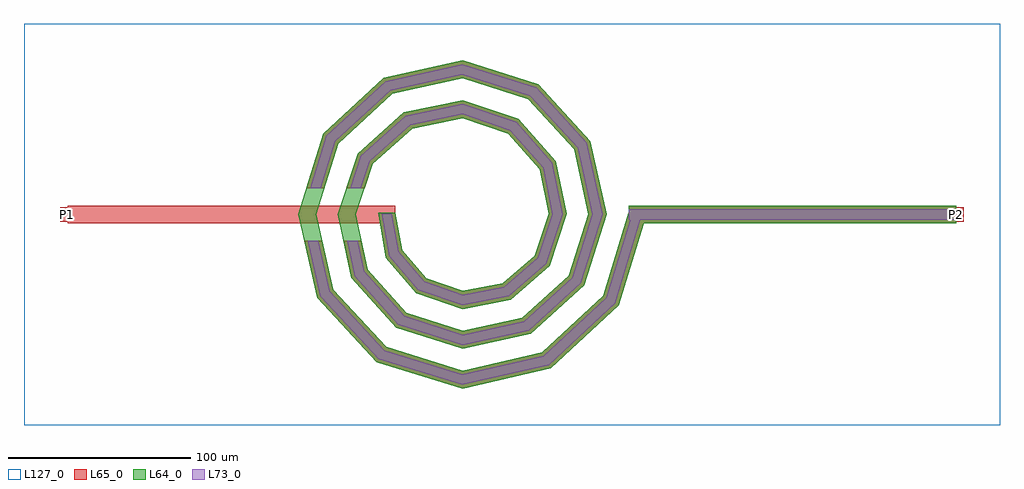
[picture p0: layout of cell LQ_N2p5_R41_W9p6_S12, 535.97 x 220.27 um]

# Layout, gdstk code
import gdstk
lib = gdstk.Library(unit=1e-6, precision=1e-09)
def R(c, l, rs):  # rectangles x0, y0, x1, y1
    for r in rs: c.add(gdstk.rectangle(r[:2], r[2:], *l))
def P(c, l, *ps):  # polygons
    for p in ps: c.add(gdstk.Polygon(p, *l))
L64_0 = (64, 0)
L65_0 = (65, 0)
L73_0 = (73, 0)
L127_0 = (127, 0)

lq_n2p5_r41_w9p6_s12 = lib.new_cell('LQ_N2p5_R41_W9p6_S12')
R(lq_n2p5_r41_w9p6_s12, L64_0, [(91.294,-4.8,271.294,4.8)])
P(lq_n2p5_r41_w9p6_s12, L64_0, [(-33.006,-19.505),(-19.755,-34.963),(0.359,-41.976),(22.197,-37.755),(39.671,-22.519),(47.436,0.322),(42.501,24.897),(25.278,44.384),(0.291,52.896),(-27.603,47.245),(-49.1,28.031),(-58.357,0.266),(-51.986,-30.313),(-30.781,-53.818),(0.245,-63.819),(33.027,-56.726),(58.538,-33.528),(69.28,0.227),(61.464,35.742),(36.273,63.26),(0.212,74.742),(-38.46,66.201),(-67.983,39.016),(-80.203,0.198),(-70.938,-41.18),(-41.758,-72.706),(0.186,-85.665),(43.901,-75.674),(77.431,-44.498),(91.504,1.407),(100.683,-1.407),(85.854,-49.775),(48.551,-84.458),(0.186,-95.598),(-47.053,-81.118),(-79.733,-45.81),(-90.135,0.198),(-76.381,44.333),(-43.067,75.009),(0.212,84.673),(41.613,71.643),(70.286,40.323),(79.21,0.227),(66.904,-38.896),(37.577,-65.563),(0.245,-73.747),(-36.181,-62.164),(-60.842,-34.828),(-68.284,0.266),(-57.421,33.469),(-32.076,56.123),(0.291,62.821),(30.76,52.676),(51.405,29.32),(57.357,0.322),(47.928,-28.056),(26.558,-46.69),(0.359,-51.892),(-25.359,-43.176),(-41.979,-23.787),(-46.193,0.868),(-36.751,0.868)])
R(lq_n2p5_r41_w9p6_s12, L65_0, [(-216.672,-4.8,-36.672,4.8), (91.294,-4.8,271.294,4.8), (-220.672,-4,-212.672,4), (267.294,-4,275.294,4)])
P(lq_n2p5_r41_w9p6_s12, L65_0, [(-70.938,-41.18),(-41.758,-72.707),(0.186,-85.665),(43.901,-75.674),(77.431,-44.498),(91.504,1.407),(100.683,-1.407),(85.854,-49.775),(48.551,-84.458),(0.186,-95.598),(-47.053,-81.118),(-79.733,-45.81),(-86.835,-14.4),(-76.992,-14.4)],
  [(-51.986,-30.313),(-30.781,-53.818),(0.245,-63.819),(33.027,-56.726),(58.538,-33.528),(69.28,0.227),(61.464,35.742),(36.273,63.26),(0.212,74.742),(-38.46,66.201),(-67.983,39.016),(-75.654,14.4),(-85.709,14.4),(-76.381,44.333),(-43.068,75.009),(0.212,84.673),(41.613,71.643),(70.286,40.323),(79.21,0.227),(66.904,-38.896),(37.577,-65.563),(0.245,-73.747),(-36.181,-62.164),(-60.842,-34.828),(-65.174,-14.4),(-55.36,-14.4)],
  [(-19.755,-34.963),(0.359,-41.976),(22.197,-37.756),(39.671,-22.519),(47.436,0.322),(42.502,24.897),(25.278,44.384),(0.291,52.897),(-27.603,47.245),(-49.1,28.031),(-53.559,14.4),(-63.66,14.4),(-57.421,33.469),(-32.076,56.123),(0.291,62.821),(30.76,52.677),(51.405,29.32),(57.357,0.322),(47.928,-28.056),(26.558,-46.69),(0.359,-51.892),(-25.359,-43.176),(-41.979,-23.788),(-46.193,0.868),(-36.751,0.868),(-33.006,-19.505)])
R(lq_n2p5_r41_w9p6_s12, L73_0, [(91.294,-2.8,271.294,2.8)])
P(lq_n2p5_r41_w9p6_s12, L73_0, [(-72.77,-42.145),(-42.861,-74.459),(0.109,-87.734),(44.87,-77.504),(79.186,-45.597),(93.417,0.821),(98.771,0.821),(84.1,-48.675),(47.582,-82.628),(0.109,-93.529),(-45.95,-79.366),(-77.901,-44.845),(-84.784,-14.4),(-79.043,-14.4)],
  [(-53.831,-31.254),(-31.906,-55.557),(0.143,-65.887),(33.975,-58.567),(60.281,-34.646),(71.349,0.133),(63.302,36.697),(37.386,65.006),(0.124,76.811),(-39.42,68.036),(-69.732,40.124),(-77.749,14.4),(-83.615,14.4),(-74.632,43.225),(-42.108,73.174),(0.124,82.604),(40.501,69.897),(68.448,39.369),(77.141,0.133),(65.161,-37.778),(36.629,-63.722),(0.143,-71.679),(-35.056,-60.425),(-58.997,-33.888),(-63.129,-14.4),(-57.405,-14.4)],
  [(-20.922,-36.674),(0.209,-44.042),(23.106,-39.617),(41.391,-23.673),(49.503,0.188),(44.356,25.819),(26.42,46.111),(0.17,54.964),(-28.535,49.094),(-50.833,29.164),(-55.664,14.4),(-61.556,14.4),(-55.688,32.336),(-31.144,54.273),(0.17,60.753),(29.618,50.949),(49.55,28.398),(55.29,0.188),(46.208,-26.903),(25.649,-44.829),(0.209,-49.826),(-24.191,-41.465),(-40.11,-22.895),(-44.226,0.506),(-38.718,0.506),(-34.875,-20.397)])
R(lq_n2p5_r41_w9p6_s12, L127_0, [(-240.672,-115.598,295.294,104.673)])
lq_n2p5_r41_w9p6_s12.add(gdstk.Label('P2', (271.294,0), layer=65, texttype=0))
lq_n2p5_r41_w9p6_s12.add(gdstk.Label('P1', (-216.672,0), layer=65, texttype=0))
lq_n2p5_r41_w9p6_s12.add(gdstk.Label('P2', (275.294,0), layer=145, texttype=0))
lq_n2p5_r41_w9p6_s12.add(gdstk.Label('P1', (-220.672,0), layer=145, texttype=0))

lib.write_gds('LQ_N2p5_R41_W9p6_S12.gds')
